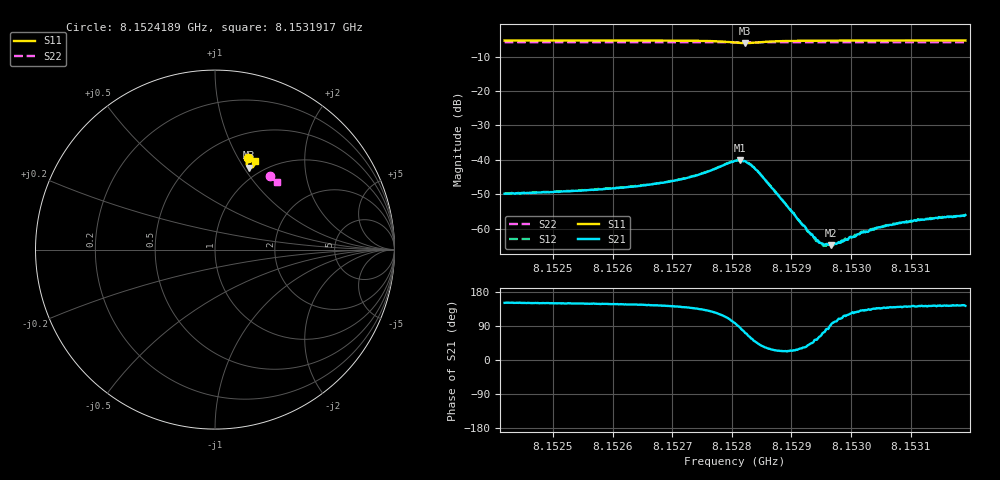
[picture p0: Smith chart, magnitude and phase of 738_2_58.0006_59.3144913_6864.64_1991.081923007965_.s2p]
#  HZ  S  RI  R  50.00
! Rohde & Schwarz Vector Network Analyzer
! Rohde-Schwarz,ZNB20-2Port,1311601062101988,3.16
! Created: UTC 3/21/2024, 1:23:22 AM
! freq[Hz]  re:S11  im:S11  re:S21  im:S21  re:S12  im:S12  re:S22  im:S22
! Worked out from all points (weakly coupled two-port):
!   401 points, 8.1524189 GHz to 8.1531917 GHz, reference 50 ohm
!   highest |S21| = -40.10 dB at 8.1528131 GHz (marker M1); lowest = -64.8 dB at 8.1529657 GHz (marker M2)
!   lowest |S11| = -6.1 dB at 8.1528227 GHz (marker M3), VSWR 2.96, Z = 43.6 + j52.8 ohm
!   |S11| at or under -10 dB: nowhere
!   |S22| runs from -5.9 to -5.8 dB; largest |S21 - S12| = 0.00028
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8.15241893e9  0.1836 0.5082  -0.00281 0.00157  -0.00281 0.00162  0.3064 0.4091
8.15254837e9  0.1938 0.5042  -0.00306 0.00186  -0.00308 0.00192  0.313 0.404
8.15261793e9  0.2 0.5016  -0.00329 0.00215  -0.00331 0.00219  0.3164 0.4012
8.15267782e9  0.2061 0.4979  -0.00365 0.0027  -0.00366 0.00276  0.3195 0.3985
8.15274157e9  0.2147 0.4898  -0.00425 0.00417  -0.00423 0.00427  0.3224 0.3957
8.15280533e9  0.209 0.4588  -0.00122 0.00959  -0.00106 0.00962  0.3248 0.3922
8.15281305e9  0.2009 0.4556  0.000575 0.00987  0.000769 0.00983  0.325 0.392
8.15282271e9  0.1891 0.4572  0.00313 0.009  0.0031 0.00894  0.3249 0.392
8.15283237e9  0.1801 0.4648  0.00465 0.00706  0.00465 0.007  0.3252 0.3918
8.1528459e9  0.1768 0.4778  0.00484 0.00426  0.00494 0.00419  0.3259 0.3918
8.15291545e9  0.1961 0.4978  0.00105 0.00062  0.00108 0.0006  0.33 0.3894
8.15293477e9  0.1999 0.4981  0.000587 0.000584  0.000558 0.00057  0.331 0.3886
8.1529425e9  0.2011 0.498  0.0004 0.000535  0.000371 0.000538  0.3316 0.3884
8.15295023e9  0.2023 0.4981  0.000249 0.000559  0.000275 0.000579  0.3318 0.3879
8.15295602e9  0.2032 0.4979  0.000159 0.000566  0.000155 0.000562  0.3322 0.3877
8.15296568e9  0.2046 0.498  -1.99e-05 0.000577  2.77e-06 0.000556  0.3326 0.3873
8.15298307e9  0.2069 0.4975  -0.000211 0.000591  -0.000212 0.000626  0.3335 0.3864
8.15301398e9  0.2103 0.4969  -0.000516 0.000648  -0.000537 0.000676  0.3351 0.385
8.15304489e9  0.2135 0.496  -0.000746 0.000715  -0.0007 0.000726  0.3365 0.3837
8.15306421e9  0.2151 0.4954  -0.00085 0.00074  -0.000837 0.000753  0.3374 0.383
8.15311637e9  0.2198 0.4939  -0.00107 0.000833  -0.00104 0.000841  0.3399 0.3807
8.15319172e9  0.2255 0.4917  -0.00126 0.000948  -0.00125 0.000947  0.3435 0.3774
